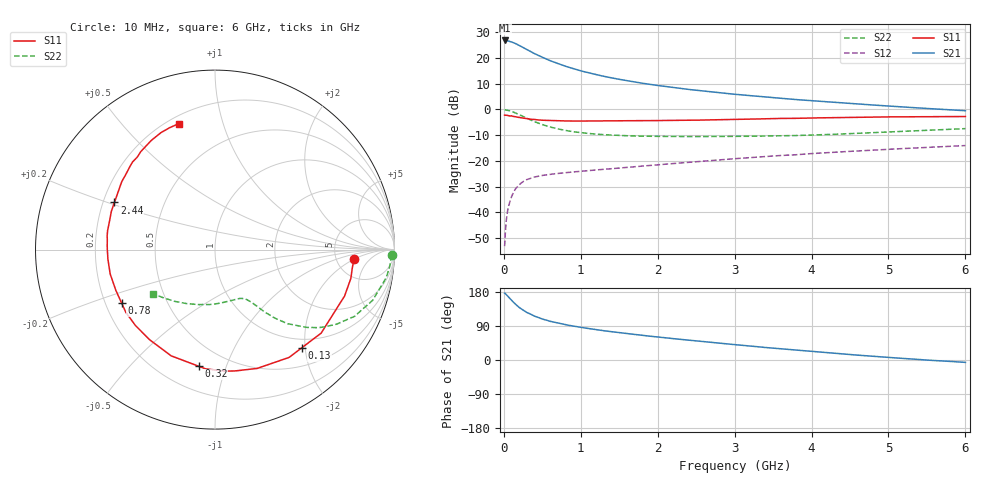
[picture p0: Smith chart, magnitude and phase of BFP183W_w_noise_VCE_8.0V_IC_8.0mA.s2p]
! Infineon Technologies  Discrete & RF Semiconductors
! BFP183W
! VCE = 8.0 V,  IC =  8.0 mA
! Common Emitter S-Parameters:  Jan 2016
# GHz  S  MA  R  50
!  f  S11  S21  S12  S22
! GHz  MAG  ANG  MAG  ANG  MAG  ANG  MAG  ANG
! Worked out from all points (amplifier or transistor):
!   210 points, 10 MHz to 6 GHz, reference 50 ohm
!   highest |S21| = 26.8 dB at 10 MHz (marker M1)
!   |S21| within 3 dB of that: start of sweep to 265.9 MHz
!   unconditionally stable (mu >= 1): 1.555 GHz to 5.655 GHz
!   at 185 MHz: K = 0.19, MSG = 27.4 dB, |S12| = -29.7 dB
!   at 1.52 GHz: K = 0.99, MSG = 17.2 dB, |S12| = -22.7 dB
!   at 6 GHz: K = 0.98, MSG = 6.8 dB, |S12| = -14.0 dB
!   lowest NFmin = 1.30 dB at 450 MHz
!   S11 on the Smith chart (normalised r, x): 10 MHz: 7.39, -1.96; 130 MHz: 0.83, -1.93; 320 MHz: 0.35, -0.81; 780 MHz: 0.27, -0.25; 2.44 GHz: 0.25, +0.21; 6 GHz: 0.24, +0.72
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0.01  0.7757 -3.9  22 176.4  0.0022 86.4  0.985 -1.8
0.02  0.7718 -7.8  21.95 175.1  0.0041 83.9  0.9803 -3.8
0.05  0.7669 -19.7  21.66 168.2  0.0109 80.1  0.967 -9.3
0.1  0.7526 -38.2  20.63 157.3  0.0202 71.6  0.9229 -17.8
0.13  0.7302 -48.5  19.73 151.4  0.0251 66.2  0.8845 -22.3
0.15  0.7288 -55.5  19.25 147.2  0.0284 63.7  0.8622 -25.5
0.2  0.7024 -70.5  17.6 138.6  0.0345 57.1  0.7951 -31.5
0.26  0.6786 -85.6  15.76 130.4  0.0404 51.3  0.7197 -37.2
0.3  0.6662 -94.6  14.57 125.3  0.0434 48.3  0.6717 -40.2
0.32  0.6561 -98.0  14.06 123.6  0.0444 47.1  0.6525 -41.2
0.4  0.6403 -112.4  12.18 115.6  0.0487 42.6  0.5777 -45.6
0.5  0.6204 -126.0  10.32 108.1  0.0523 39.6  0.508 -48.8
0.6  0.6126 -136.4  8.903 102.2  0.0549 37.5  0.4571 -50.9
0.78  0.6 -150.2  7.106 94.0  0.0585 36.3  0.3974 -53.3
1.02  0.5967 -163.5  5.543 85.5  0.0632 36.4  0.3521 -55.6
1.42  0.5997 -179.0  4.068 74.2  0.071 38.4  0.3174 -59.6
2.02  0.6092 164.3  2.905 60.3  0.0845 41.5  0.3004 -67.4
2.44  0.6188 154.9  2.422 51.4  0.095 42.5  0.2974 -74.2
3.1  0.6458 141.9  1.919 38.8  0.1132 42.8  0.3004 -86.5
4.1  0.6878 125.8  1.451 21.1  0.1418 40.6  0.3222 -108.6
5.1  0.7189 113.9  1.141 5.4  0.1712 36.7  0.3709 -130.0
6  0.7303 106.1  0.947 -6.3  0.1989 33.0  0.4248 -144.8
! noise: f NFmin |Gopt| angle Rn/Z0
0.45  1.3  0.17  43  0.21
0.9  1.35  0.21  115  0.2
1.8  2.05  0.33  -177  0.14
